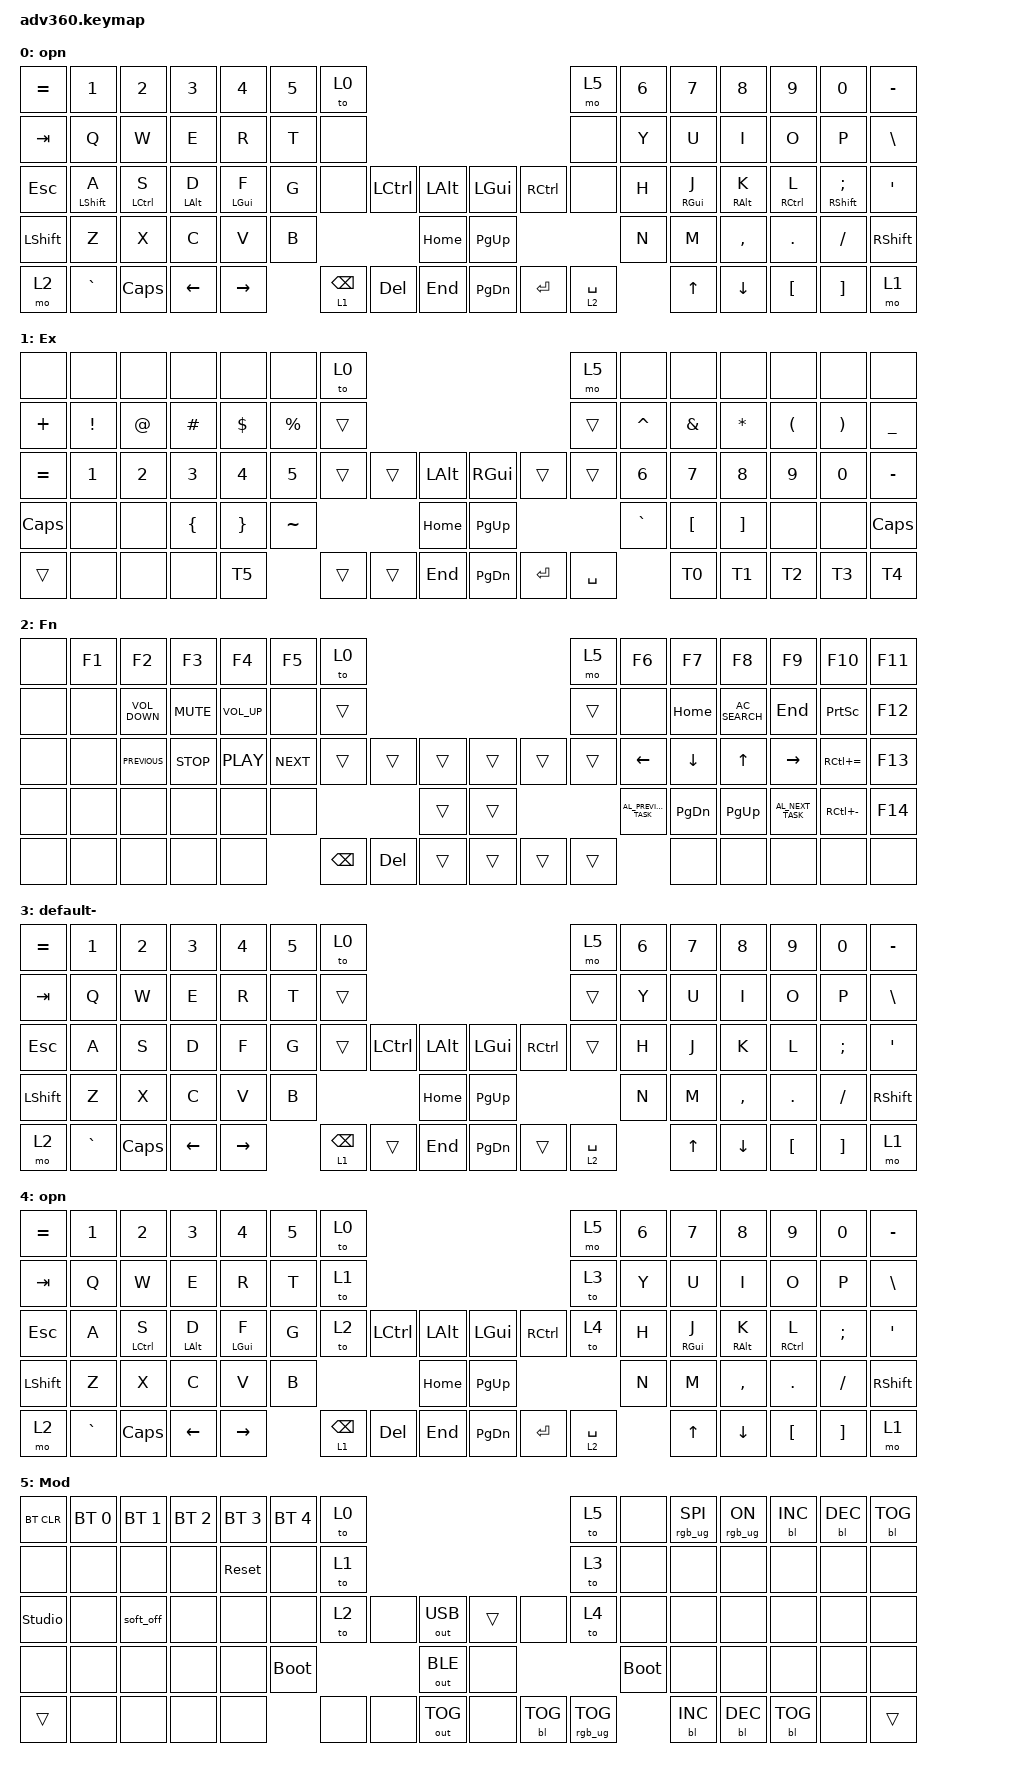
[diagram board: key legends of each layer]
#include <dt-bindings/zmk/stp.h>
#include <behaviors.dtsi>
#include <dt-bindings/zmk/backlight.h>
#include <dt-bindings/zmk/bt.h>
#include <dt-bindings/zmk/keys.h>
#include <dt-bindings/zmk/outputs.h>
#include <dt-bindings/zmk/rgb.h>

/ {
    behaviors {
        #include "macros.dtsi"
      #include "version.dtsi"

        hm: homerow_mods {
            compatible = "zmk,behavior-hold-tap";
            label = "HOMEROW_MODS";
            #binding-cells = <2>;
            tapping-term-ms = <150>;
            flavor = "balanced";
            bindings = <&kp>, <&kp>;

            hold-trigger-key-positions = <29 30 31 32 44 43 42 41>;
            hold-trigger-on-release;
            require-prior-idle-ms = <200>;
        };
    };

    macros {
        T0: TSD0 {
            compatible = "zmk,behavior-macro";
            #binding-cells = <0>;
            bindings = <&kp LS(R) &kp E &kp D &kp N1 &kp N9 &kp N7 &kp N0 &kp LS(H) &kp O &kp R &kp S &kp E &kp EXCL>;
            label = "TSD0";
        };

        T1: TSD1 {
            compatible = "zmk,behavior-macro";
            #binding-cells = <0>;
            bindings = <&kp LS(P) &kp R &kp O &kp V &kp I &kp N &kp C &kp E &kp N4 &kp N4 &kp LS(D) &kp E &kp D &kp U &kp C &kp T &kp E &kp D>;
            label = "TSD1";
        };

        T2: TSD2 {
            compatible = "zmk,behavior-macro";
            #binding-cells = <0>;
            bindings = <&kp LS(M) &kp I &kp K &kp E &kp N1 &kp N2 &kp LS(C) &kp H &kp A &kp R &kp L &kp I &kp E &kp N3 &kp N4>;
            label = "TSD2";
        };

        T3: TSD3 {
            compatible = "zmk,behavior-macro";
            #binding-cells = <0>;
            bindings = <&kp LS(A) &kp L &kp P &kp H &kp A &kp N0 &kp N1 &kp LS(C) &kp H &kp A &kp R &kp L &kp I &kp E &kp N0 &kp N2>;
            label = "TSD3";
        };

        T4: TSD4 {
            compatible = "zmk,behavior-macro";
            #binding-cells = <0>;
            bindings = <&kp LS(G) &kp R &kp E &kp E &kp N &kp N2 &kp N0 &kp N2 &kp N6 &kp LS(D) &kp O &kp G &kp EXCL>;
            label = "TSD4";
        };

        T5: TSD5 {
            compatible = "zmk,behavior-macro";
            #binding-cells = <0>;
            bindings = <&none &kp LS(S) &kp C &kp O &kp U &kp T &kp S &kp N0 &kp N1 &kp LS(A) &kp R &kp D &kp U &kp I &kp N &kp O &kp DLLR>;
            label = "TSD5";
        };
    };

    keymap {
        compatible = "zmk,keymap";

        Operator+ {
            label = "op+";
            display-name = "opn";
            bindings = <
&kp EQUAL       &kp NUMBER_1      &kp NUMBER_2  &kp NUMBER_3    &kp NUMBER_4    &kp NUMBER_5  &to 0                                                           &mo 5        &kp NUMBER_6  &kp N7           &kp N8           &kp N9            &kp N0                     &kp MINUS
&kp TAB         &kp Q             &kp W         &kp E           &kp R           &kp T         &none                                                           &none        &kp Y         &kp U            &kp I            &kp O             &kp P                      &kp BSLH
&kp ESC         &hm LEFT_SHIFT A  &hm LCTRL S   &hm LEFT_ALT D  &hm LEFT_GUI F  &kp G         &none            &kp LCTRL  &kp LALT      &kp LGUI   &kp RCTRL  &none        &kp H         &hm RIGHT_GUI J  &hm RIGHT_ALT K  &hm RCTRL L       &hm RIGHT_SHIFT SEMICOLON  &kp SQT
&kp LEFT_SHIFT  &kp Z             &kp X         &kp C           &kp V           &kp B                                     &kp HOME      &kp PG_UP                          &kp N         &kp M            &kp COMMA        &kp DOT           &kp FSLH                   &kp RSHFT
&mo 2           &kp GRAVE         &kp CAPS      &kp LEFT        &kp RIGHT                     &lt 1 BACKSPACE  &kp DEL    &kp END       &kp PG_DN  &kp ENTER  &lt 2 SPACE                &kp UP_ARROW     &kp DOWN         &kp LEFT_BRACKET  &kp RIGHT_BRACKET          &mo 1
            >;
        };

        Extended {
            display-name = "Ex";
            bindings = <
&none      &none         &none         &none           &none            &none        &to 0                                                   &mo 5      &none         &none             &none              &none                 &none                  &none
&kp PLUS   &kp EXCL      &kp AT        &kp HASH        &kp DOLLAR       &kp PERCENT  &trans                                                  &trans     &kp CARET     &kp AMPS          &kp ASTERISK       &kp LEFT_PARENTHESIS  &kp RIGHT_PARENTHESIS  &kp UNDERSCORE
&kp EQUAL  &kp NUMBER_1  &kp NUMBER_2  &kp NUMBER_3    &kp NUMBER_4     &kp N5       &trans  &trans  &kp LALT      &kp RIGHT_GUI  &trans     &trans     &kp NUMBER_6  &kp N7            &kp NUMBER_8       &kp N9                &kp N0                 &kp MINUS
&kp CAPS   &none         &none         &kp LEFT_BRACE  &kp RIGHT_BRACE  &kp TILDE                    &kp HOME      &kp PAGE_UP                          &kp GRAVE     &kp LEFT_BRACKET  &kp RIGHT_BRACKET  &none                 &none                  &kp CAPS
&trans     &none         &none         &none           &T5                           &trans  &trans  &kp END       &kp PAGE_DOWN  &kp ENTER  &kp SPACE                &T0               &T1                &T2                   &T3                    &T4
            >;
        };

        Media {
            display-name = "Fn";
            bindings = <
&none  &kp F1  &kp F2             &kp F3      &kp F4           &kp F5      &to 0                                                  &mo 5   &kp F6                  &kp F7         &kp F8           &kp F9              &kp F10          &kp F11
&none  &none   &kp C_VOLUME_DOWN  &kp C_MUTE  &kp C_VOLUME_UP  &none       &trans                                                 &trans  &none                   &kp HOME       &kp C_AC_SEARCH  &kp END             &kp PRINTSCREEN  &kp F12
&none  &none   &kp C_PREVIOUS     &kp K_STOP  &kp C_PLAY       &kp C_NEXT  &trans         &trans      &trans      &trans  &trans  &trans  &kp LEFT                &kp DOWN       &kp UP_ARROW     &kp RIGHT           &kp RC(EQUAL)    &kp F13
&none  &none   &none              &none       &none            &none                                  &trans      &trans                  &kp C_AL_PREVIOUS_TASK  &kp PAGE_DOWN  &kp PAGE_UP      &kp C_AL_NEXT_TASK  &kp RC(MINUS)    &kp F14
&none  &none   &none              &none       &none                        &kp BACKSPACE  &kp DELETE  &trans      &trans  &trans  &trans                          &none          &none            &none               &none            &none
            >;

            label = "fn";
        };

        original {
            label = "original";
            display-name = "default-";
            bindings = <
&kp EQUAL       &kp N1     &kp N2    &kp N3          &kp N4           &kp N5  &to 0                                                           &mo 5        &kp N6  &kp N7  &kp N8          &kp N9            &kp N0             &kp MINUS
&kp TAB         &kp Q      &kp W     &kp E           &kp R            &kp T   &trans                                                          &trans       &kp Y   &kp U   &kp I           &kp O             &kp P              &kp BSLH
&kp ESC         &kp A      &kp S     &kp D           &kp F            &kp G   &trans           &kp LCTRL  &kp LALT      &kp LGUI   &kp RCTRL  &trans       &kp H   &kp J   &kp K           &kp L             &kp SEMICOLON      &kp SQT
&kp LEFT_SHIFT  &kp Z      &kp X     &kp C           &kp V            &kp B                               &kp HOME      &kp PG_UP                          &kp N   &kp M   &kp COMMA       &kp DOT           &kp FSLH           &kp RSHFT
&mo 2           &kp GRAVE  &kp CAPS  &kp LEFT_ARROW  &kp RIGHT_ARROW          &lt 1 BACKSPACE  &trans     &kp END       &kp PG_DN  &trans     &lt 2 SPACE          &kp UP  &kp DOWN_ARROW  &kp LEFT_BRACKET  &kp RIGHT_BRACKET  &mo 1
            >;
        };

        origin+ {
            label = "or";
            display-name = "opn";
            bindings = <
&kp EQUAL       &kp NUMBER_1  &kp NUMBER_2  &kp NUMBER_3    &kp NUMBER_4    &kp NUMBER_5  &to 0                                                           &mo 5        &kp NUMBER_6  &kp N7           &kp N8           &kp N9            &kp N0             &kp MINUS
&kp TAB         &kp Q         &kp W         &kp E           &kp R           &kp T         &to 1                                                           &to 3        &kp Y         &kp U            &kp I            &kp O             &kp P              &kp BSLH
&kp ESC         &kp A         &hm LCTRL S   &hm LEFT_ALT D  &hm LEFT_GUI F  &kp G         &to 2            &kp LCTRL  &kp LALT      &kp LGUI   &kp RCTRL  &to 4        &kp H         &hm RIGHT_GUI J  &hm RIGHT_ALT K  &hm RCTRL L       &kp SEMICOLON      &kp SQT
&kp LEFT_SHIFT  &kp Z         &kp X         &kp C           &kp V           &kp B                                     &kp HOME      &kp PG_UP                          &kp N         &kp M            &kp COMMA        &kp DOT           &kp FSLH           &kp RSHFT
&mo 2           &kp GRAVE     &kp CAPS      &kp LEFT        &kp RIGHT                     &lt 1 BACKSPACE  &kp DEL    &kp END       &kp PG_DN  &kp ENTER  &lt 2 SPACE                &kp UP_ARROW     &kp DOWN         &kp LEFT_BRACKET  &kp RIGHT_BRACKET  &mo 1
            >;
        };

        mod {
            display-name = "Mod";
            bindings = <
&bt BT_CLR      &bt BT_SEL 0  &bt BT_SEL 1  &bt BT_SEL 2  &bt BT_SEL 3  &bt BT_SEL 4  &to 0                                               &to 5            &none        &rgb_ug RGB_SPI  &rgb_ug RGB_ON  &bl BL_INC  &bl BL_DEC  &bl BL_TOG
&none           &none         &none         &none         &sys_reset    &none         &to 1                                               &to 3            &none        &none            &none           &none       &none       &none
&studio_unlock  &none         &soft_off     &none         &none         &none         &to 2  &none  &out OUT_USB      &trans  &none       &to 4            &none        &none            &none           &none       &none       &none
&none           &none         &none         &none         &none         &bootloader                 &out OUT_BLE      &none                                &bootloader  &none            &none           &none       &none       &none
&trans          &none         &none         &none         &none                       &none  &none  &out OUT_TOG      &none   &bl BL_TOG  &rgb_ug RGB_TOG               &bl BL_INC       &bl BL_DEC      &bl BL_TOG  &none       &trans
            >;
        };
    };
};
